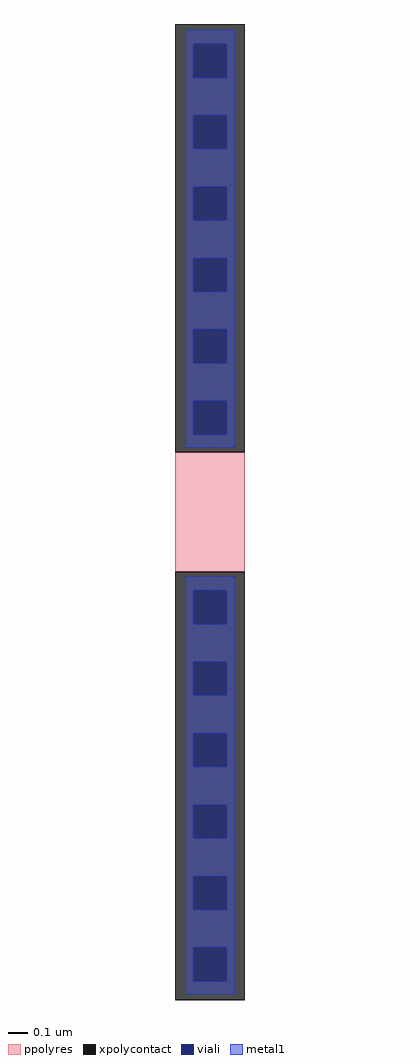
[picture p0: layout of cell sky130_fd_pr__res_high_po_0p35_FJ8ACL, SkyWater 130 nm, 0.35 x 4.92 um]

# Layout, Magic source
magic
tech sky130A
magscale 1 2
<< xpolycontact >>
rect -35 60 35 492
rect -35 -492 35 -60
<< ppolyres >>
rect -35 -60 35 60
<< viali >>
rect -17 438 17 472
rect -17 366 17 400
rect -17 294 17 328
rect -17 222 17 256
rect -17 150 17 184
rect -17 78 17 112
rect -17 -113 17 -79
rect -17 -185 17 -151
rect -17 -257 17 -223
rect -17 -329 17 -295
rect -17 -401 17 -367
rect -17 -473 17 -439
<< metal1 >>
rect -25 472 25 486
rect -25 438 -17 472
rect 17 438 25 472
rect -25 400 25 438
rect -25 366 -17 400
rect 17 366 25 400
rect -25 328 25 366
rect -25 294 -17 328
rect 17 294 25 328
rect -25 256 25 294
rect -25 222 -17 256
rect 17 222 25 256
rect -25 184 25 222
rect -25 150 -17 184
rect 17 150 25 184
rect -25 112 25 150
rect -25 78 -17 112
rect 17 78 25 112
rect -25 65 25 78
rect -25 -79 25 -65
rect -25 -113 -17 -79
rect 17 -113 25 -79
rect -25 -151 25 -113
rect -25 -185 -17 -151
rect 17 -185 25 -151
rect -25 -223 25 -185
rect -25 -257 -17 -223
rect 17 -257 25 -223
rect -25 -295 25 -257
rect -25 -329 -17 -295
rect 17 -329 25 -295
rect -25 -367 25 -329
rect -25 -401 -17 -367
rect 17 -401 25 -367
rect -25 -439 25 -401
rect -25 -473 -17 -439
rect 17 -473 25 -439
rect -25 -486 25 -473
<< end >>
